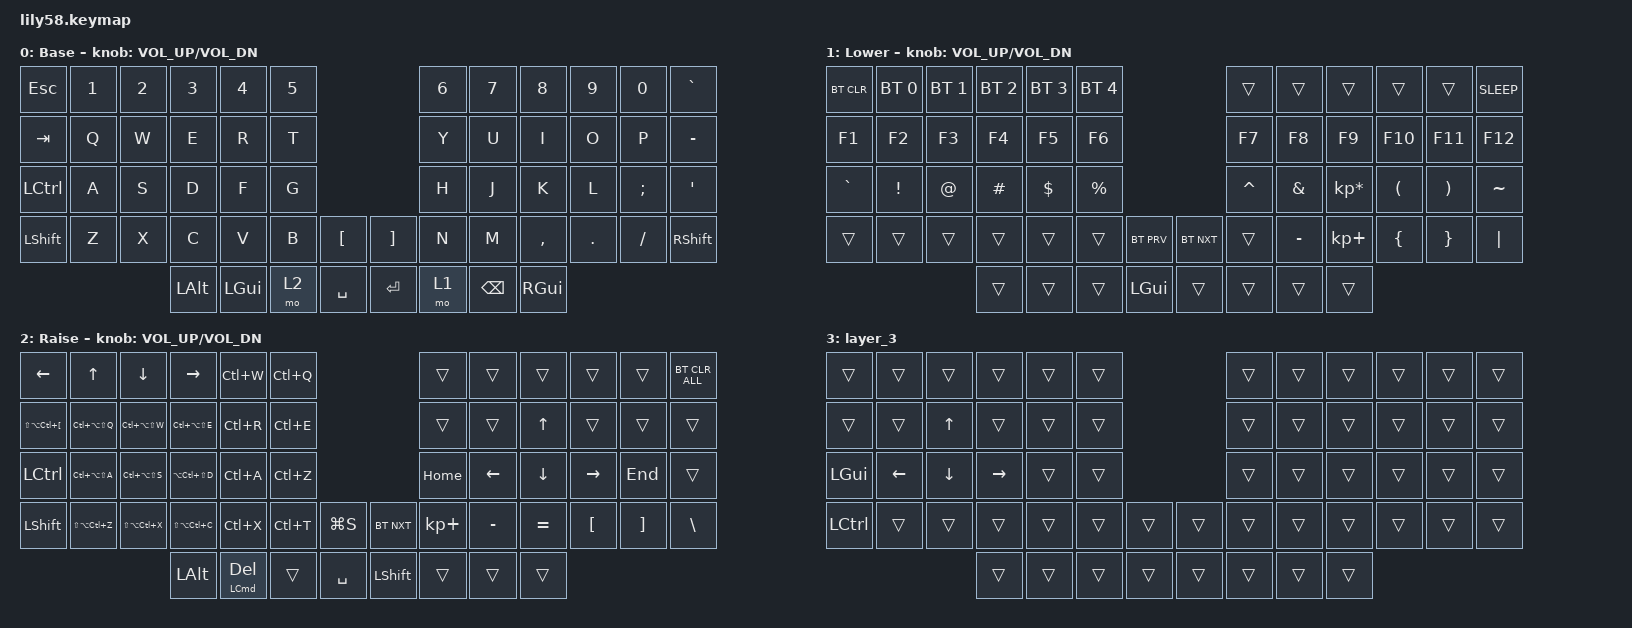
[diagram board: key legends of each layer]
/*
 * Copyright (c) 2020 The ZMK Contributors
 *
 * SPDX-License-Identifier: MIT
 */

#include <behaviors.dtsi>
#include <dt-bindings/zmk/bt.h>
#include <dt-bindings/zmk/keys.h>

/ {
    combos {
        compatible = "zmk,combos";

        toggle_layer2 {
            bindings = <&tog 2>;
            key-positions = <56 51>;
        };
    };

    keymap {
        compatible = "zmk,keymap";

        default_layer {
            // ------------------------------------------------------------------------------------------------------------
            // |  ESC  |  1  |  2  |  3   |  4   |  5   |                   |  6   |  7    |  8    |  9   |   0   |   `   |
            // |  TAB  |  Q  |  W  |  E   |  R   |  T   |                   |  Y   |  U    |  I    |  O   |   P   |   -   |
            // |  CTRL |  A  |  S  |  D   |  F   |  G   |                   |  H   |  J    |  K    |  L   |   ;   |   '   |
            // | SHIFT |  Z  |  X  |  C   |  V   |  B   |   "["  |  |  "]"  |  N   |  M    |  ,    |  .   |   /   | SHIFT |
            //                     | ALT  | GUI  | LOWER|  SPACE |  | ENTER | RAISE| BSPC  | GUI   |

            display-name = "Base";
            bindings = <
&kp ESC    &kp N1  &kp N2  &kp N3    &kp N4    &kp N5                          &kp N6  &kp N7    &kp N8     &kp N9   &kp N0    &kp GRAVE
&kp TAB    &kp Q   &kp W   &kp E     &kp R     &kp T                           &kp Y   &kp U     &kp I      &kp O    &kp P     &kp MINUS
&kp LCTRL  &kp A   &kp S   &kp D     &kp F     &kp G                           &kp H   &kp J     &kp K      &kp L    &kp SEMI  &kp SQT
&kp LSHFT  &kp Z   &kp X   &kp C     &kp V     &kp B   &kp LBKT     &kp RBKT   &kp N   &kp M     &kp COMMA  &kp DOT  &kp FSLH  &kp RSHFT
                           &kp LALT  &kp LGUI  &mo 2   &kp SPACE    &kp ENTER  &mo 1   &kp BSPC  &kp RGUI
            >;

            sensor-bindings = <&inc_dec_kp C_VOL_UP C_VOL_DN>;
        };

        lower_layer {
            // ------------------------------------------------------------------------------------------------------------
            // | BTCLR | BT1 | BT2 |  BT3 |  BT4 |  BT5 |                   |      |       |       |      |       |       |
            // |  F1   |  F2 |  F3 |  F4  |  F5  |  F6  |                   |  F7  |  F8   |  F9   |  F10 |  F11  |  F12  |
            // |   `   |  !  |  @  |  #   |  $   |  %   |                   |  ^   |  &    |  *    |  (   |   )   |   ~   |
            // |       |     |     |      |      |      |        |  |       |      |  _    |  +    |  {   |   }   |  "|"  |
            //                     |      |      |      |        |  |       |      |       |       |

            display-name = "Lower";
            bindings = <
&bt BT_CLR  &bt BT_SEL 0  &bt BT_SEL 1  &bt BT_SEL 2  &bt BT_SEL 3  &bt BT_SEL 4                            &trans     &trans     &trans           &trans    &trans    &kp K_SLEEP
&kp F1      &kp F2        &kp F3        &kp F4        &kp F5        &kp F6                                  &kp F7     &kp F8     &kp F9           &kp F10   &kp F11   &kp F12
&kp GRAVE   &kp EXCL      &kp AT        &kp HASH      &kp DOLLAR    &kp PRCNT                               &kp CARET  &kp AMPS   &kp KP_MULTIPLY  &kp LPAR  &kp RPAR  &kp TILDE
&trans      &trans        &trans        &trans        &trans        &trans        &bt BT_PRV    &bt BT_NXT  &trans     &kp MINUS  &kp KP_PLUS      &kp LBRC  &kp RBRC  &kp PIPE
                                        &trans        &trans        &trans        &kp LGUI      &trans      &trans     &trans     &trans
            >;

            sensor-bindings = <&inc_dec_kp C_VOL_UP C_VOL_DN>;
        };

        raise_layer {
            // ------------------------------------------------------------------------------------------------------------
            // |       |     |     |      |      |      |                   |      |       |       |      |       |       |
            // |   `   |  1  |  2  |  3   |  4   |  5   |                   |  6   |   7   |   8   |  9   |   0   |       |
            // |   F1  |  F2 |  F3 |  F4  |  F5  |  F6  |                   |      |   <-  |   v   |  ^   |  ->   |       |
            // |   F7  |  F8 |  F9 |  F10 |  F11 |  F12 |        |  |       |  +   |   -   |   =   |  [   |   ]   |   \   |
            //                     |      |      |      |        |  |       |      |       |       |

            display-name = "Raise";
            bindings = <
&kp LEFT_ARROW                &kp UP_ARROW       &kp DOWN_ARROW     &kp RIGHT_ARROW    &kp LC(W)                &kp LC(Q)                               &trans       &trans     &trans        &trans           &trans    &bt BT_CLR_ALL
&kp LS(LA(LC(LEFT_BRACKET)))  &kp LC(LA(LS(Q)))  &kp LC(LA(LS(W)))  &kp LC(LA(LS(E)))  &kp LC(R)                &kp LC(E)                               &trans       &trans     &kp UP_ARROW  &trans           &trans    &trans
&kp LEFT_CONTROL              &kp LC(LA(LS(A)))  &kp LC(LA(LS(S)))  &kp LA(LC(LS(D)))  &kp LC(A)                &kp LC(Z)                               &kp HOME     &kp LEFT   &kp DOWN      &kp RIGHT_ARROW  &kp END   &trans
&kp LEFT_SHIFT                &kp LS(LA(LC(Z)))  &kp LS(LA(LC(X)))  &kp LS(LA(LC(C)))  &kp LC(X)                &kp LC(T)  &kp LG(S)    &bt BT_NXT      &kp KP_PLUS  &kp MINUS  &kp EQUAL     &kp LBKT         &kp RBKT  &kp BSLH
                                                                    &kp LEFT_ALT       &mt LEFT_COMMAND DELETE  &trans     &kp SPACE    &kp LEFT_SHIFT  &trans       &trans     &trans
            >;

            sensor-bindings = <&inc_dec_kp C_VOL_UP C_VOL_DN>;
        };

        layer_3 {
            bindings = <
&trans            &trans          &trans    &trans     &trans  &trans                    &trans  &trans  &trans  &trans  &trans  &trans
&trans            &trans          &kp UP    &trans     &trans  &trans                    &trans  &trans  &trans  &trans  &trans  &trans
&kp LEFT_GUI      &kp LEFT_ARROW  &kp DOWN  &kp RIGHT  &trans  &trans                    &trans  &trans  &trans  &trans  &trans  &trans
&kp LEFT_CONTROL  &trans          &trans    &trans     &trans  &trans  &trans    &trans  &trans  &trans  &trans  &trans  &trans  &trans
                                            &trans     &trans  &trans  &trans    &trans  &trans  &trans  &trans
            >;
        };
    };
};
